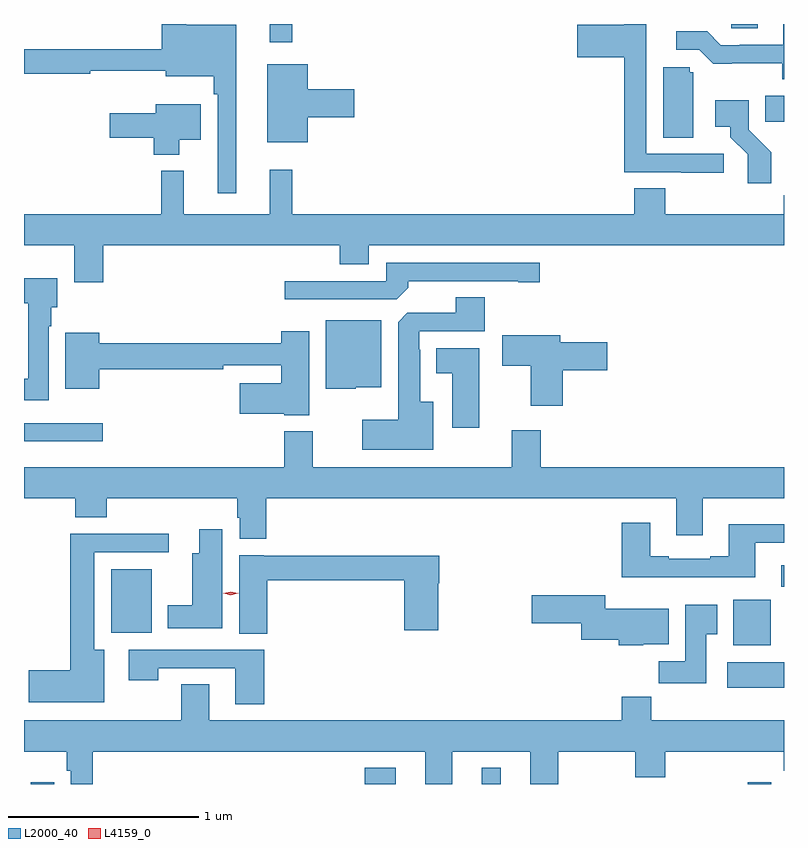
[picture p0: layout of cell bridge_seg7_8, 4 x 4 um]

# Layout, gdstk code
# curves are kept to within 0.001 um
import gdstk
lib = gdstk.Library(unit=1e-6, precision=1e-09)
def R(c, l, rs):  # rectangles x0, y0, x1, y1
    for r in rs: c.add(gdstk.rectangle(r[:2], r[2:], *l))
def P(c, l, *ps):  # polygons
    for p in ps: c.add(gdstk.Polygon(p, *l))
L2000_40 = (2000, 40)
L4159_0 = (4159, 0)

bridge_seg7_8 = lib.new_cell('bridge_seg7_8')
R(bridge_seg7_8, L2000_40, [(1023.171,1053.725,1023.296,1053.733), (1024.93,1053.725,1025.092,1053.811), (1025.546,1053.725,1025.644,1053.811), (1026.945,1053.725,1027.07,1053.733), (1026.837,1054.232,1027.136,1054.366), (1026.869,1054.454,1027.066,1054.696), (1023.596,1054.52,1023.808,1054.855), (1027.121,1054.763,1027.136,1054.876), (1023.136,1055.528,1023.55,1055.625), (1027.036,1057.21,1027.136,1057.348), (1024.43,1057.629,1024.547,1057.725), (1026.858,1057.702,1026.997,1057.725)])
P(bridge_seg7_8, L2000_40, [(1024.252,1057.72),(1023.991,1057.72),(1023.991,1057.725),(1023.862,1057.725),(1023.862,1057.591),(1023.136,1057.591),(1023.136,1057.462),(1023.485,1057.462),(1023.485,1057.48),(1023.881,1057.48),(1023.881,1057.451),(1024.135,1057.451),(1024.135,1057.355),(1024.155,1057.355),(1024.155,1056.834),(1024.252,1056.834)],
  [(1026.82,1057.041),(1026.411,1057.041),(1026.411,1057.566),(1026.412,1057.566),(1026.412,1057.725),(1026.295,1057.725),(1026.295,1057.72),(1026.048,1057.72),(1026.048,1057.55),(1026.295,1057.55),(1026.295,1056.945),(1026.595,1056.945),(1026.595,1056.943),(1026.82,1056.943)],
  [(1027.136,1057.723),(1027.133,1057.723),(1027.133,1057.617),(1026.904,1057.617),(1026.904,1057.614),(1026.804,1057.614),(1026.731,1057.687),(1026.57,1057.687),(1026.57,1057.59),(1026.69,1057.59),(1026.763,1057.517),(1027.126,1057.518),(1027.126,1057.433),(1027.136,1057.433)],
  [(1024.63,1057.235),(1024.873,1057.235),(1024.873,1057.382),(1024.63,1057.382),(1024.63,1057.513),(1024.415,1057.513),(1024.415,1057.103),(1024.63,1057.103)],
  [(1026.658,1057.47),(1026.639,1057.47),(1026.639,1057.497),(1026.5,1057.497),(1026.5,1057.126),(1026.658,1057.126)],
  [(1027.07,1057.05),(1026.951,1057.169),(1026.951,1057.324),(1026.774,1057.324),(1026.774,1057.184),(1026.854,1057.184),(1026.854,1057.129),(1026.945,1057.039),(1026.945,1056.888),(1027.07,1056.888)],
  [(1023.952,1057.115),(1024.066,1057.115),(1024.066,1057.303),(1023.83,1057.303),(1023.83,1057.255),(1023.588,1057.255),(1023.588,1057.126),(1023.818,1057.126),(1023.818,1057.037),(1023.952,1057.037)],
  [(1023.554,1056.56),(1024.799,1056.56),(1024.799,1056.461),(1024.951,1056.461),(1024.951,1056.56),(1027.136,1056.56),(1027.136,1056.825),(1027.135,1056.825),(1027.135,1056.724),(1026.512,1056.724),(1026.512,1056.86),(1026.347,1056.86),(1026.347,1056.724),(1024.547,1056.724),(1024.547,1056.958),(1024.43,1056.958),(1024.43,1056.724),(1023.977,1056.724),(1023.977,1056.952),(1023.859,1056.952),(1023.859,1056.724),(1023.136,1056.724),(1023.136,1056.56),(1023.401,1056.56),(1023.401,1056.366),(1023.554,1056.366)],
  [(1025.159,1056.338),(1025.159,1056.372),(1025.738,1056.372),(1025.738,1056.367),(1025.851,1056.367),(1025.851,1056.468),(1025.043,1056.468),(1025.043,1056.372),(1024.509,1056.372),(1024.509,1056.276),(1025.097,1056.276)],
  [(1023.265,1056.134),(1023.28,1056.134),(1023.28,1056.234),(1023.31,1056.234),(1023.31,1056.388),(1023.136,1056.388),(1023.136,1056.254),(1023.158,1056.254),(1023.158,1055.858),(1023.136,1055.858),(1023.136,1055.745),(1023.265,1055.745)],
  [(1025.29,1055.737),(1025.221,1055.737),(1025.221,1056.011),(1025.217,1056.011),(1025.217,1056.108),(1025.561,1056.108),(1025.561,1056.287),(1025.408,1056.287),(1025.408,1056.204),(1025.154,1056.204),(1025.105,1056.155),(1025.105,1055.641),(1024.917,1055.641),(1024.917,1055.483),(1025.29,1055.483)],
  [(1024.881,1055.813),(1025.017,1055.813),(1025.017,1056.166),(1024.724,1056.166),(1024.724,1055.804),(1024.881,1055.804)],
  [(1024.636,1056.109),(1024.49,1056.109),(1024.49,1056.044),(1023.532,1056.044),(1023.532,1056.1),(1023.353,1056.1),(1023.353,1055.804),(1023.532,1055.804),(1023.532,1055.908),(1024.184,1055.908),(1024.184,1055.928),(1024.49,1055.928),(1024.49,1055.833),(1024.272,1055.833),(1024.272,1055.675),(1024.506,1055.675),(1024.506,1055.666),(1024.636,1055.666)],
  [(1025.972,1055.903),(1026.205,1055.903),(1026.205,1056.05),(1025.959,1056.05),(1025.959,1056.088),(1025.652,1056.088),(1025.652,1055.926),(1025.804,1055.926),(1025.804,1055.715),(1025.972,1055.715)],
  [(1025.533,1056.019),(1025.306,1056.019),(1025.306,1055.888),(1025.39,1055.888),(1025.39,1055.601),(1025.533,1055.601)],
  [(1024.412,1055.228),(1026.569,1055.228),(1026.569,1055.034),(1026.709,1055.034),(1026.709,1055.228),(1027.136,1055.228),(1027.136,1055.392),(1025.855,1055.392),(1025.855,1055.587),(1025.702,1055.587),(1025.702,1055.392),(1024.657,1055.392),(1024.657,1055.581),(1024.505,1055.581),(1024.505,1055.392),(1023.136,1055.392),(1023.136,1055.228),(1023.407,1055.228),(1023.407,1055.129),(1023.572,1055.129),(1023.572,1055.228),(1024.259,1055.228),(1024.259,1055.127),(1024.271,1055.127),(1024.271,1055.015),(1024.412,1055.015)],
  [(1026.985,1054.995),(1027.136,1054.995),(1027.136,1055.092),(1026.845,1055.092),(1026.845,1054.924),(1026.749,1054.924),(1026.749,1054.911),(1026.529,1054.911),(1026.529,1054.924),(1026.433,1054.924),(1026.433,1055.101),(1026.281,1055.101),(1026.281,1054.814),(1026.985,1054.814)],
  [(1024.18,1055.065),(1024.058,1055.065),(1024.058,1054.939),(1024.022,1054.939),(1024.022,1054.666),(1023.893,1054.666),(1023.893,1054.544),(1024.18,1054.544)],
  [(1023.559,1054.432),(1023.505,1054.432),(1023.505,1054.944),(1023.898,1054.944),(1023.898,1055.042),(1023.38,1055.042),(1023.38,1054.325),(1023.162,1054.325),(1023.162,1054.154),(1023.559,1054.154)],
  [(1024.415,1054.798),(1025.138,1054.798),(1025.138,1054.533),(1025.316,1054.533),(1025.316,1054.781),(1025.321,1054.781),(1025.321,1054.927),(1024.398,1054.927),(1024.398,1054.93),(1024.268,1054.93),(1024.268,1054.516),(1024.415,1054.516)],
  [(1026.396,1054.46),(1026.529,1054.46),(1026.529,1054.648),(1026.196,1054.648),(1026.196,1054.718),(1025.808,1054.718),(1025.808,1054.571),(1026.068,1054.571),(1026.068,1054.484),(1026.266,1054.484),(1026.266,1054.454),(1026.396,1054.454)],
  [(1026.727,1054.513),(1026.784,1054.513),(1026.784,1054.669),(1026.617,1054.669),(1026.617,1054.372),(1026.478,1054.372),(1026.478,1054.254),(1026.727,1054.254)],
  [(1024.4,1054.431),(1023.687,1054.431),(1023.687,1054.272),(1023.843,1054.272),(1023.843,1054.335),(1024.247,1054.335),(1024.247,1054.146),(1024.4,1054.146)],
  [(1023.497,1053.896),(1025.249,1053.896),(1025.249,1053.725),(1025.389,1053.725),(1025.389,1053.896),(1025.801,1053.896),(1025.801,1053.725),(1025.949,1053.725),(1025.949,1053.896),(1026.352,1053.896),(1026.352,1053.76),(1026.512,1053.76),(1026.512,1053.896),(1027.135,1053.896),(1027.135,1053.795),(1027.136,1053.795),(1027.136,1054.06),(1026.437,1054.06),(1026.437,1054.184),(1026.281,1054.184),(1026.281,1054.06),(1024.111,1054.06),(1024.111,1054.25),(1023.964,1054.25),(1023.964,1054.06),(1023.136,1054.06),(1023.136,1053.896),(1023.361,1053.896),(1023.361,1053.795),(1023.381,1053.795),(1023.381,1053.725),(1023.497,1053.725)])
P(bridge_seg7_8, L4159_0, [(1024.223,1054.718),(1024.184,1054.729),(1024.184,1054.729),(1024.184,1054.729),(1024.224,1054.738),(1024.263,1054.728),(1024.263,1054.728),(1024.263,1054.728)])

lib.write_gds('bridge_seg7_8.gds')
